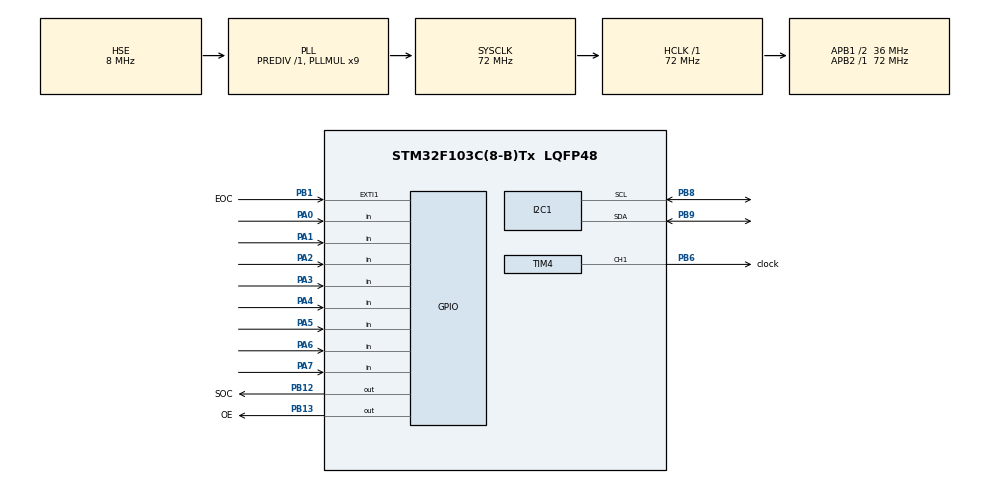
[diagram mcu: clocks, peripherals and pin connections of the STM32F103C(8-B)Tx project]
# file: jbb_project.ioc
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I2C1.I2C_Mode=I2C_Fast
Mcu.Family=STM32F1
Mcu.Name=STM32F103C(8-B)Tx
Mcu.Package=LQFP48
NVIC.EXTI1_IRQn=true\:0\:0\:false\:false\:true\:true\:true\:true
NVIC.PriorityGroup=NVIC_PRIORITYGROUP_4
PA0-WKUP.Signal=GPIO_Input
PA1.Signal=GPIO_Input
PA2.Signal=GPIO_Input
PA3.Signal=GPIO_Input
PA4.Signal=GPIO_Input
PA5.Signal=GPIO_Input
PA6.Signal=GPIO_Input
PA7.Signal=GPIO_Input
PB1.GPIO_Label=EOC
PB1.Signal=GPXTI1
PB12.GPIO_Label=SOC
PB12.Signal=GPIO_Output
PB13.GPIO_Label=OE
PB13.Signal=GPIO_Output
PB6.GPIO_Label=clock
PB6.Signal=S_TIM4_CH1
PB8.Mode=I2C
PB8.Signal=I2C1_SCL
PB9.Mode=I2C
PB9.Signal=I2C1_SDA
PD0-OSC_IN.Mode=HSE-External-Oscillator
PD0-OSC_IN.Signal=RCC_OSC_IN
PD1-OSC_OUT.Mode=HSE-External-Oscillator
PD1-OSC_OUT.Signal=RCC_OSC_OUT
ProjectManager.HeapSize=0x200
ProjectManager.StackSize=0x400
ProjectManager.TargetToolchain=STM32CubeIDE
RCC.AHBFreq_Value=72000000
RCC.APB1CLKDivider=RCC_HCLK_DIV2
RCC.APB1Freq_Value=36000000
RCC.APB1TimFreq_Value=72000000
RCC.APB2Freq_Value=72000000
RCC.APB2TimFreq_Value=72000000
RCC.HCLKFreq_Value=72000000
RCC.PLLMUL=RCC_PLL_MUL9
RCC.PLLSourceVirtual=RCC_PLLSOURCE_HSE
RCC.SYSCLKFreq_VALUE=72000000
RCC.SYSCLKSource=RCC_SYSCLKSOURCE_PLLCLK
RCC.USBFreq_Value=72000000
SH.S_TIM4_CH1.0=TIM4_CH1,PWM Generation1 CH1
TIM4.AutoReloadPreload=TIM_AUTORELOAD_PRELOAD_ENABLE
TIM4.Channel-PWM\ Generation1\ CH1=TIM_CHANNEL_1
TIM4.Period=111
TIM4.Prescaler=0
TIM4.Pulse-PWM\ Generation1\ CH1=56
VP_TIM4_VS_ClockSourceINT.Mode=Internal
board=custom

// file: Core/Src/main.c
/* USER CODE BEGIN Header */
/**
  ******************************************************************************
  * @file           : main.c
  * @brief          : Main program body
  ******************************************************************************
  * @attention
  *
  * Copyright (c) 2025 STMicroelectronics.
  * All rights reserved.
  *
  * This software is licensed under terms that can be found in the LICENSE file
  * in the root directory of this software component.
  * If no LICENSE file comes with this software, it is provided AS-IS.
  *
  ******************************************************************************
  */
/* USER CODE END Header */
#include "main.h"

/* USER CODE BEGIN Includes */
#include "stm32f1xx_it.h"
#include "ssd1306.h"
#include "fonts.h"
/* USER CODE END Includes */

I2C_HandleTypeDef hi2c1;

TIM_HandleTypeDef htim4;

/* USER CODE BEGIN PV */
uint8_t data, flag=0;
/* USER CODE END PV */

void SystemClock_Config(void);
static void MX_GPIO_Init(void);
static void MX_TIM4_Init(void);
static void MX_I2C1_Init(void);

int main(void)
{

  /* MCU Configuration--------------------------------------------------------*/

  /* Reset of all peripherals, Initializes the Flash interface and the Systick. */
  HAL_Init();

  /* Configure the system clock */
  SystemClock_Config();

  /* Initialize all configured peripherals */
  MX_GPIO_Init();
  MX_TIM4_Init();
  MX_I2C1_Init();
  /* USER CODE BEGIN 2 */
HAL_TIM_PWM_Start(&htim4, TIM_CHANNEL_1);
SSD1306_Init();

void south_detect(){
	SSD1306_Clear();
	SSD1306_GotoXY (0,0);
	SSD1306_Puts ("South Pole", &Font_11x18, 1);
	SSD1306_UpdateScreen();
	HAL_Delay (500);

}

void north_detect(){
	SSD1306_Clear();
	SSD1306_GotoXY (0,0);
	SSD1306_Puts ("North Pole", &Font_11x18, 1);
	SSD1306_UpdateScreen();
	HAL_Delay (500);
}

void no_detect(){
	SSD1306_Clear();
	SSD1306_GotoXY (0,0);
	SSD1306_Puts ("No Field", &Font_11x18, 1);
	SSD1306_UpdateScreen();
	HAL_Delay (500);
}
  /* USER CODE END 2 */

  /* Infinite loop */
  while (1)
  {

    /* USER CODE BEGIN 3 */
	  //soc
	  HAL_GPIO_WritePin(GPIOB, SOC_Pin, 1);
	  HAL_Delay(1);
	  HAL_GPIO_WritePin(GPIOB, SOC_Pin, 0);

	  while(flag == 0);

	  HAL_GPIO_WritePin(GPIOB, OE_Pin, 1);
	  HAL_Delay(1);

	  data=(GPIOA->IDR)&0xFF;
	  if(data>135){
		  south_detect();
	  } else if(data<120){
		  north_detect();
	  } else {
		  no_detect();
	  }

	  HAL_GPIO_WritePin(GPIOB, OE_Pin, 0);
	  flag=0;

  }
  /* USER CODE END 3 */
}

void SystemClock_Config(void)
{
  RCC_OscInitTypeDef RCC_OscInitStruct = {0};
  RCC_ClkInitTypeDef RCC_ClkInitStruct = {0};

  /** Initializes the RCC Oscillators according to the specified parameters
  * in the RCC_OscInitTypeDef structure.
  */
  RCC_OscInitStruct.OscillatorType = RCC_OSCILLATORTYPE_HSE;
  RCC_OscInitStruct.HSEState = RCC_HSE_ON;
  RCC_OscInitStruct.HSEPredivValue = RCC_HSE_PREDIV_DIV1;
  RCC_OscInitStruct.HSIState = RCC_HSI_ON;
  RCC_OscInitStruct.PLL.PLLState = RCC_PLL_ON;
  RCC_OscInitStruct.PLL.PLLSource = RCC_PLLSOURCE_HSE;
  RCC_OscInitStruct.PLL.PLLMUL = RCC_PLL_MUL9;
  if (HAL_RCC_OscConfig(&RCC_OscInitStruct) != HAL_OK)
  {
    Error_Handler();
  }

  /** Initializes the CPU, AHB and APB buses clocks
  */
  RCC_ClkInitStruct.ClockType = RCC_CLOCKTYPE_HCLK|RCC_CLOCKTYPE_SYSCLK
                              |RCC_CLOCKTYPE_PCLK1|RCC_CLOCKTYPE_PCLK2;
  RCC_ClkInitStruct.SYSCLKSource = RCC_SYSCLKSOURCE_PLLCLK;
  RCC_ClkInitStruct.AHBCLKDivider = RCC_SYSCLK_DIV1;
  RCC_ClkInitStruct.APB1CLKDivider = RCC_HCLK_DIV2;
  RCC_ClkInitStruct.APB2CLKDivider = RCC_HCLK_DIV1;

  if (HAL_RCC_ClockConfig(&RCC_ClkInitStruct, FLASH_LATENCY_2) != HAL_OK)
  {
    Error_Handler();
  }
}

static void MX_I2C1_Init(void)
{

  hi2c1.Instance = I2C1;
  hi2c1.Init.ClockSpeed = 400000;
  hi2c1.Init.DutyCycle = I2C_DUTYCYCLE_2;
  hi2c1.Init.OwnAddress1 = 0;
  hi2c1.Init.AddressingMode = I2C_ADDRESSINGMODE_7BIT;
  hi2c1.Init.DualAddressMode = I2C_DUALADDRESS_DISABLE;
  hi2c1.Init.OwnAddress2 = 0;
  hi2c1.Init.GeneralCallMode = I2C_GENERALCALL_DISABLE;
  hi2c1.Init.NoStretchMode = I2C_NOSTRETCH_DISABLE;
  if (HAL_I2C_Init(&hi2c1) != HAL_OK)
  {
    Error_Handler();
  }

}

static void MX_TIM4_Init(void)
{

  TIM_ClockConfigTypeDef sClockSourceConfig = {0};
  TIM_MasterConfigTypeDef sMasterConfig = {0};
  TIM_OC_InitTypeDef sConfigOC = {0};

  htim4.Instance = TIM4;
  htim4.Init.Prescaler = 0;
  htim4.Init.CounterMode = TIM_COUNTERMODE_UP;
  htim4.Init.Period = 111;
  htim4.Init.ClockDivision = TIM_CLOCKDIVISION_DIV1;
  htim4.Init.AutoReloadPreload = TIM_AUTORELOAD_PRELOAD_ENABLE;
  if (HAL_TIM_Base_Init(&htim4) != HAL_OK)
  {
    Error_Handler();
  }
  sClockSourceConfig.ClockSource = TIM_CLOCKSOURCE_INTERNAL;
  if (HAL_TIM_ConfigClockSource(&htim4, &sClockSourceConfig) != HAL_OK)
  {
    Error_Handler();
  }
  if (HAL_TIM_PWM_Init(&htim4) != HAL_OK)
  {
    Error_Handler();
  }
  sMasterConfig.MasterOutputTrigger = TIM_TRGO_RESET;
  sMasterConfig.MasterSlaveMode = TIM_MASTERSLAVEMODE_DISABLE;
  if (HAL_TIMEx_MasterConfigSynchronization(&htim4, &sMasterConfig) != HAL_OK)
  {
    Error_Handler();
  }
  sConfigOC.OCMode = TIM_OCMODE_PWM1;
  sConfigOC.Pulse = 56;
  sConfigOC.OCPolarity = TIM_OCPOLARITY_HIGH;
  sConfigOC.OCFastMode = TIM_OCFAST_DISABLE;
  if (HAL_TIM_PWM_ConfigChannel(&htim4, &sConfigOC, TIM_CHANNEL_1) != HAL_OK)
  {
    Error_Handler();
  }
  HAL_TIM_MspPostInit(&htim4);

}

static void MX_GPIO_Init(void)
{
  GPIO_InitTypeDef GPIO_InitStruct = {0};

  /* GPIO Ports Clock Enable */
  __HAL_RCC_GPIOD_CLK_ENABLE();
  __HAL_RCC_GPIOA_CLK_ENABLE();
  __HAL_RCC_GPIOB_CLK_ENABLE();

  /*Configure GPIO pin Output Level */
  HAL_GPIO_WritePin(GPIOB, SOC_Pin|OE_Pin, GPIO_PIN_RESET);

  /*Configure GPIO pins : PA0 PA1 PA2 PA3
                           PA4 PA5 PA6 PA7 */
  GPIO_InitStruct.Pin = GPIO_PIN_0|GPIO_PIN_1|GPIO_PIN_2|GPIO_PIN_3
                          |GPIO_PIN_4|GPIO_PIN_5|GPIO_PIN_6|GPIO_PIN_7;
  GPIO_InitStruct.Mode = GPIO_MODE_INPUT;
  GPIO_InitStruct.Pull = GPIO_NOPULL;
  HAL_GPIO_Init(GPIOA, &GPIO_InitStruct);

  /*Configure GPIO pin : EOC_Pin */
  GPIO_InitStruct.Pin = EOC_Pin;
  GPIO_InitStruct.Mode = GPIO_MODE_IT_RISING;
  GPIO_InitStruct.Pull = GPIO_NOPULL;
  HAL_GPIO_Init(EOC_GPIO_Port, &GPIO_InitStruct);

  /*Configure GPIO pins : SOC_Pin OE_Pin */
  GPIO_InitStruct.Pin = SOC_Pin|OE_Pin;
  GPIO_InitStruct.Mode = GPIO_MODE_OUTPUT_PP;
  GPIO_InitStruct.Pull = GPIO_NOPULL;
  GPIO_InitStruct.Speed = GPIO_SPEED_FREQ_LOW;
  HAL_GPIO_Init(GPIOB, &GPIO_InitStruct);

  /* EXTI interrupt init*/
  HAL_NVIC_SetPriority(EXTI1_IRQn, 0, 0);
  HAL_NVIC_EnableIRQ(EXTI1_IRQn);

}

void Error_Handler(void)
{
  __disable_irq();
  while (1)
  {
  }
}
